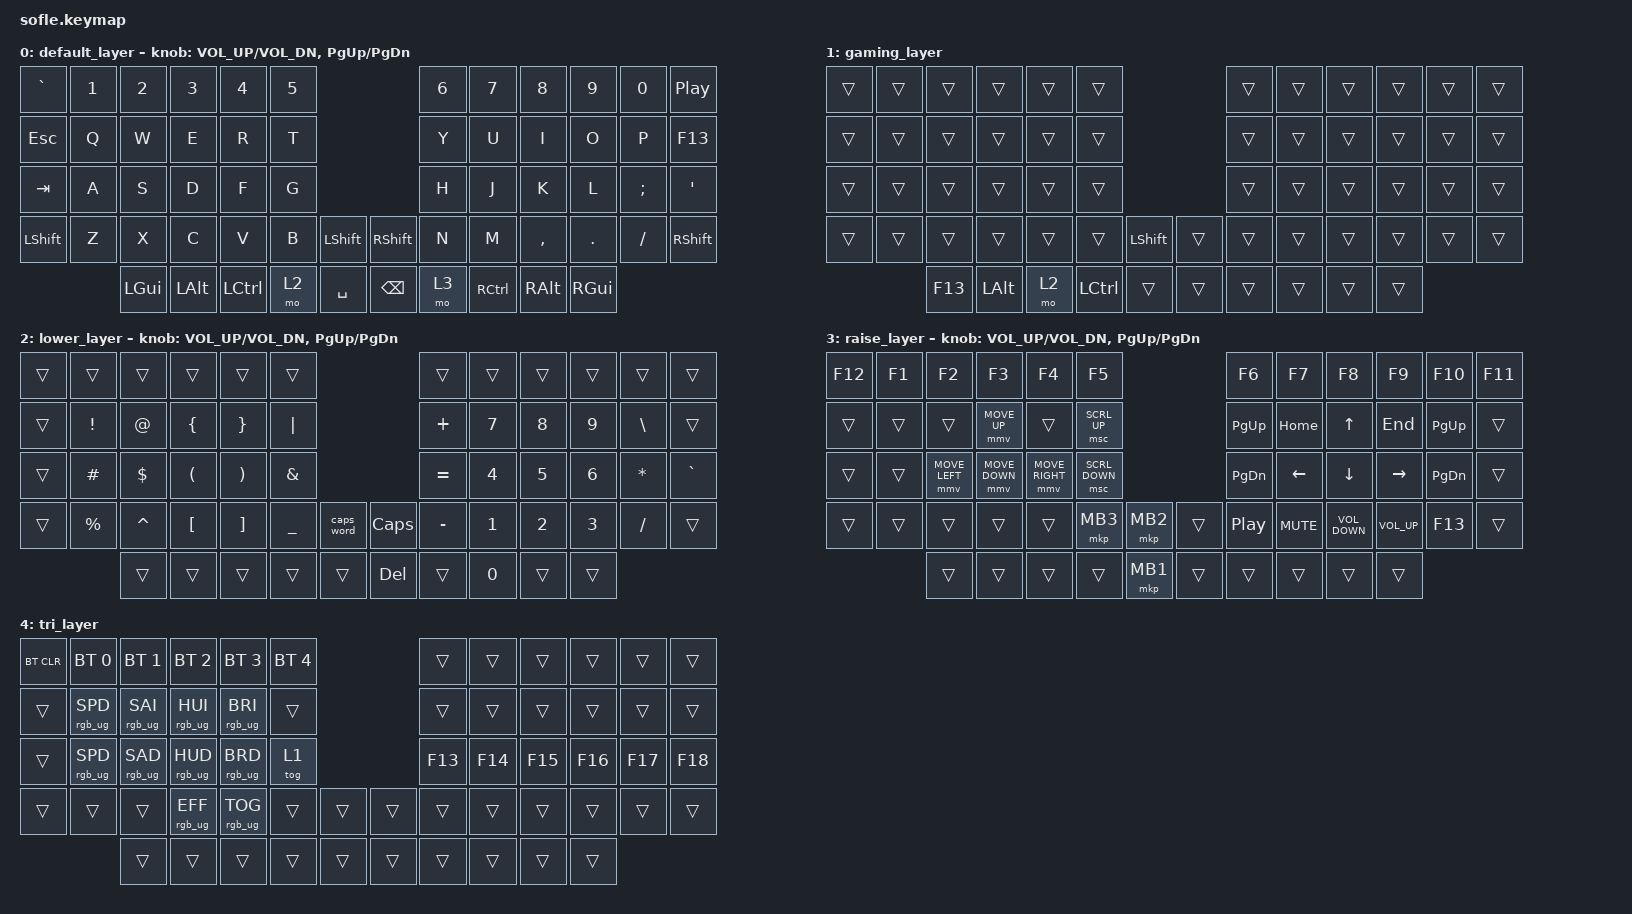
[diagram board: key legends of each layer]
/*
 * Copyright (c) 2020 The ZMK Contributors
 *
 * SPDX-License-Identifier: MIT
 */
/*
 * Temporarily here because nice nano v2 spi is not defined on ZMK Yet
 * Source: https://github.com/zmkfirmware/zmk/blob/main/app/boards/shields/reviung41/boards/nice_nano.overlay
 * GitHub Issue: https://github.com/zmkfirmware/zmk/issues/885
 */

#include <dt-bindings/led/led.h>

#define ZMK_POINTING_DEFAULT_MOVE_VAL 2250   // default: 600
#define ZMK_POINTING_DEFAULT_SCRL_VAL 100    // default: 10

#include <behaviors.dtsi>
#include <dt-bindings/zmk/bt.h>
#include <dt-bindings/zmk/keys.h>
#include <dt-bindings/zmk/pointing.h>
#include <dt-bindings/zmk/rgb.h>

&pinctrl {
    spi3_default: spi3_default {
        group1 { psels = <NRF_PSEL(SPIM_MOSI, 0, 8)>; };
    };

    spi3_sleep: spi3_sleep {
        group1 {
            psels = <NRF_PSEL(SPIM_MOSI, 0, 8)>;
            low-power-enable;
        };
    };
};

&spi3 {
    compatible = "nordic,nrf-spim";
    status = "okay";
    pinctrl-0 = <&spi3_default>;
    pinctrl-1 = <&spi3_sleep>;
    pinctrl-names = "default", "sleep";

    led_strip: ws2812@0 {
        compatible = "worldsemi,ws2812-spi";
        label = "WS2812";

        /* SPI */

        reg = <0>; /* ignored, but necessary for SPI bindings */
        spi-max-frequency = <4000000>;

        /* WS2812 */

        chain-length = <30>;
        spi-one-frame = <0x70>;
        spi-zero-frame = <0x40>;
        color-mapping = <LED_COLOR_ID_GREEN LED_COLOR_ID_RED LED_COLOR_ID_BLUE>;
    };
};

&mmv {
    time-to-max-speed-ms = <650>;
    acceleration-exponent = <2>;
};

&msc {
    acceleration-exponent = <1>;
    time-to-max-speed-ms = <5000>;
};

/ {
    chosen { zmk,underglow = &led_strip; };
};

/* END temporary RGB support section */

/ {
    combos {
        compatible = "zmk,combos";

        Enter {
            bindings = <&kp ENTER>;
            key-positions = <54 55>;
        };
    };

    keymap {
        compatible = "zmk,keymap";

        default_layer {
            bindings = <
&kp GRAVE  &kp N1  &kp N2    &kp N3    &kp N4     &kp N5                                     &kp N6  &kp N7     &kp N8     &kp N9    &kp N0    &kp C_PLAY_PAUSE
&kp ESC    &kp Q   &kp W     &kp E     &kp R      &kp T                                      &kp Y   &kp U      &kp I      &kp O     &kp P     &kp F13
&kp TAB    &kp A   &kp S     &kp D     &kp F      &kp G                                      &kp H   &kp J      &kp K      &kp L     &kp SEMI  &kp APOSTROPHE
&kp LSHFT  &kp Z   &kp X     &kp C     &kp V      &kp B   &kp LEFT_SHIFT    &kp RIGHT_SHIFT  &kp N   &kp M      &kp COMMA  &kp DOT   &kp FSLH  &kp RSHFT
                   &kp LGUI  &kp LALT  &kp LCTRL  &mo 2   &kp SPACE         &kp BACKSPACE    &mo 3   &kp RCTRL  &kp RALT   &kp RGUI
            >;

            sensor-bindings = <&inc_dec_kp C_VOL_UP C_VOL_DN &inc_dec_kp PG_UP PG_DN>;
        };

        gaming_layer {
            bindings = <
&trans  &trans  &trans   &trans        &trans  &trans                                      &trans  &trans  &trans  &trans  &trans  &trans
&trans  &trans  &trans   &trans        &trans  &trans                                      &trans  &trans  &trans  &trans  &trans  &trans
&trans  &trans  &trans   &trans        &trans  &trans                                      &trans  &trans  &trans  &trans  &trans  &trans
&trans  &trans  &trans   &trans        &trans  &trans            &kp LEFT_SHIFT    &trans  &trans  &trans  &trans  &trans  &trans  &trans
                &kp F13  &kp LEFT_ALT  &mo 2   &kp LEFT_CONTROL  &trans            &trans  &trans  &trans  &trans  &trans
            >;
        };

        lower_layer {
            bindings = <
&trans  &trans       &trans      &trans                &trans                 &trans                                     &trans     &trans        &trans        &trans        &trans         &trans
&trans  &kp EXCL     &kp AT      &kp LEFT_BRACE        &kp RIGHT_BRACE        &kp PIPE                                   &kp PLUS   &kp NUMBER_7  &kp NUMBER_8  &kp NUMBER_9  &kp BACKSLASH  &trans
&trans  &kp HASH     &kp DOLLAR  &kp LEFT_PARENTHESIS  &kp RIGHT_PARENTHESIS  &kp AMPERSAND                              &kp EQUAL  &kp NUMBER_4  &kp NUMBER_5  &kp NUMBER_6  &kp ASTERISK   &kp GRAVE
&trans  &kp PERCENT  &kp CARET   &kp LEFT_BRACKET      &kp RIGHT_BRACKET      &kp UNDER      &caps_word    &kp CAPSLOCK  &kp MINUS  &kp NUMBER_1  &kp NUMBER_2  &kp NUMBER_3  &kp SLASH      &trans
                     &trans      &trans                &trans                 &trans         &trans        &kp DELETE    &trans     &kp NUMBER_0  &trans        &trans
            >;

            sensor-bindings = <&inc_dec_kp C_VOL_UP C_VOL_DN &inc_dec_kp PG_UP PG_DN>;
        };

        raise_layer {
            bindings = <
&kp F12  &kp F1  &kp F2          &kp F3          &kp F4           &kp F5                              &kp F6            &kp F7      &kp F8             &kp F9           &kp F10        &kp F11
&trans   &trans  &trans          &mmv MOVE_UP    &trans           &msc SCRL_UP                        &kp PAGE_UP       &kp HOME    &kp UP             &kp END          &kp PAGE_UP    &trans
&trans   &trans  &mmv MOVE_LEFT  &mmv MOVE_DOWN  &mmv MOVE_RIGHT  &msc SCRL_DOWN                      &kp PAGE_DOWN     &kp LEFT    &kp DOWN           &kp RIGHT        &kp PAGE_DOWN  &trans
&trans   &trans  &trans          &trans          &trans           &mkp MB3        &mkp MB2    &trans  &kp C_PLAY_PAUSE  &kp C_MUTE  &kp C_VOLUME_DOWN  &kp C_VOLUME_UP  &kp F13        &trans
                 &trans          &trans          &trans           &trans          &mkp MB1    &trans  &trans            &trans      &trans             &trans
            >;

            sensor-bindings = <&inc_dec_kp C_VOL_UP C_VOL_DN &inc_dec_kp PG_UP PG_DN>;
        };

        tri_layer {
            bindings = <
&bt BT_CLR  &bt BT_SEL 0     &bt BT_SEL 1     &bt BT_SEL 2     &bt BT_SEL 3     &bt BT_SEL 4                    &trans   &trans   &trans   &trans   &trans   &trans
&trans      &rgb_ug RGB_SPD  &rgb_ug RGB_SAI  &rgb_ug RGB_HUI  &rgb_ug RGB_BRI  &trans                          &trans   &trans   &trans   &trans   &trans   &trans
&trans      &rgb_ug RGB_SPD  &rgb_ug RGB_SAD  &rgb_ug RGB_HUD  &rgb_ug RGB_BRD  &tog 1                          &kp F13  &kp F14  &kp F15  &kp F16  &kp F17  &kp F18
&trans      &trans           &trans           &rgb_ug RGB_EFF  &rgb_ug RGB_TOG  &trans        &trans    &trans  &trans   &trans   &trans   &trans   &trans   &trans
                             &trans           &trans           &trans           &trans        &trans    &trans  &trans   &trans   &trans   &trans
            >;
        };
    };

    conditional_layers {
        compatible = "zmk,conditional-layers";

        tri_layer_conditional {
            if-layers = <2 3>;
            then-layer = <4>;
        };
    };
};
